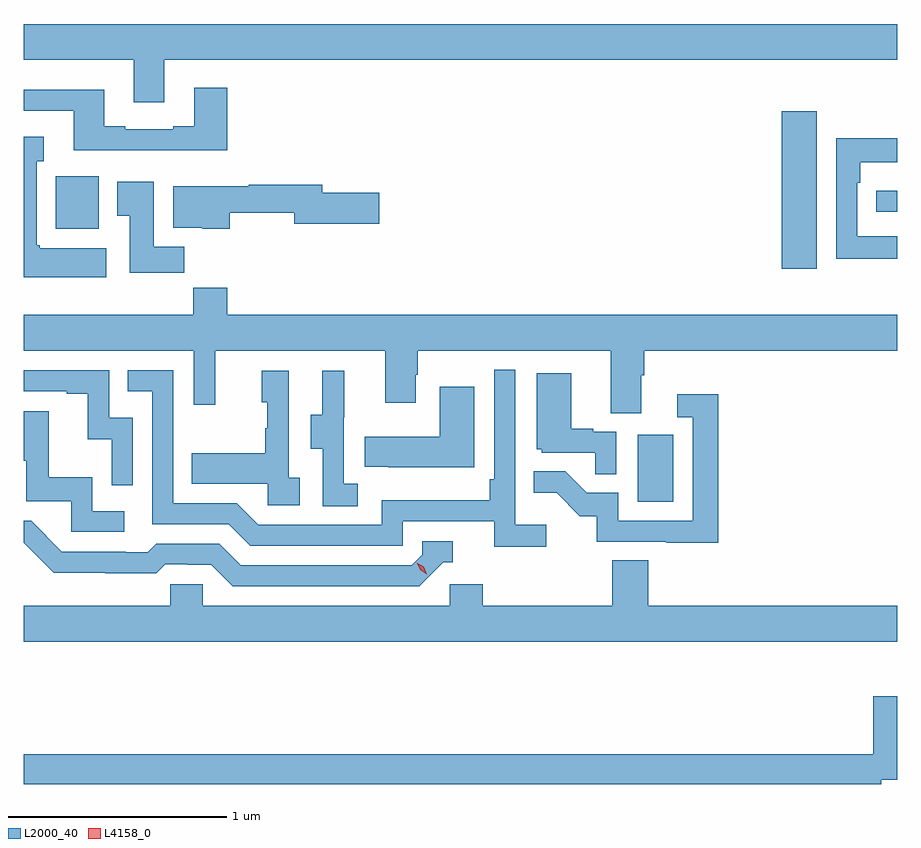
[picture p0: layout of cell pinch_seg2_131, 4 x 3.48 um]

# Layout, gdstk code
import gdstk
lib = gdstk.Library(unit=1e-6, precision=1e-09)
def R(c, l, rs):  # rectangles x0, y0, x1, y1
    for r in rs: c.add(gdstk.rectangle(r[:2], r[2:], *l))
def P(c, l, *ps):  # polygons
    for p in ps: c.add(gdstk.Polygon(p, *l))
L2000_40 = (2000, 40)
L4158_0 = (4158, 0)

pinch_seg2_131 = lib.new_cell('pinch_seg2_131')
R(pinch_seg2_131, L2000_40, [(1020.062,629.628,1020.226,629.935), (1020.722,630.696,1020.883,631.417), (1017.398,630.878,1017.595,631.12), (1021.155,630.957,1021.251,631.053)])
P(pinch_seg2_131, L2000_40, [(1017.895,631.652),(1021.251,631.652),(1021.251,631.816),(1017.251,631.816),(1017.251,631.652),(1017.755,631.652),(1017.755,631.458),(1017.895,631.458)],
  [(1018.184,631.525),(1018.031,631.525),(1018.031,631.348),(1017.935,631.348),(1017.935,631.335),(1017.715,631.335),(1017.715,631.348),(1017.619,631.348),(1017.619,631.516),(1017.251,631.516),(1017.251,631.419),(1017.479,631.419),(1017.479,631.238),(1018.184,631.238)],
  [(1017.628,630.79),(1017.324,630.79),(1017.324,630.804),(1017.31,630.804),(1017.31,631.187),(1017.343,631.187),(1017.343,631.3),(1017.251,631.3),(1017.251,630.656),(1017.628,630.656)],
  [(1021.251,630.843),(1021.068,630.843),(1021.068,631.088),(1021.082,631.088),(1021.082,631.184),(1021.251,631.184),(1021.251,631.294),(1020.972,631.294),(1020.972,630.742),(1021.251,630.742)],
  [(1017.986,630.796),(1017.847,630.796),(1017.847,631.093),(1017.68,631.093),(1017.68,630.937),(1017.737,630.937),(1017.737,630.678),(1017.986,630.678)],
  [(1018.194,630.951),(1018.49,630.951),(1018.49,630.901),(1018.879,630.901),(1018.879,631.043),(1018.618,631.043),(1018.618,631.079),(1018.282,631.079),(1018.282,631.072),(1017.935,631.072),(1017.935,630.884),(1018.068,630.884),(1018.068,630.878),(1018.194,630.878)],
  [(1020.079,630.208),(1020.092,630.208),(1020.092,630.32),(1021.251,630.32),(1021.251,630.484),(1018.184,630.484),(1018.184,630.608),(1018.027,630.608),(1018.027,630.484),(1017.251,630.484),(1017.251,630.32),(1018.029,630.32),(1018.029,630.072),(1018.127,630.072),(1018.127,630.32),(1018.907,630.32),(1018.907,630.081),(1019.047,630.081),(1019.047,630.209),(1019.055,630.209),(1019.055,630.32),(1019.939,630.32),(1019.939,630.034),(1020.079,630.034)],
  [(1019.644,629.524),(1019.502,629.524),(1019.502,630.232),(1019.406,630.232),(1019.406,629.731),(1019.386,629.731),(1019.386,629.635),(1018.89,629.635),(1018.89,629.523),(1018.326,629.523),(1018.227,629.622),(1017.936,629.622),(1017.936,630.231),(1017.727,630.231),(1017.727,630.135),(1017.84,630.135),(1017.84,629.526),(1018.19,629.526),(1018.289,629.427),(1018.986,629.427),(1018.986,629.538),(1019.405,629.538),(1019.405,629.422),(1019.644,629.422)],
  [(1017.75,630.012),(1017.642,630.012),(1017.642,630.231),(1017.251,630.231),(1017.251,630.135),(1017.449,630.135),(1017.449,630.123),(1017.545,630.123),(1017.545,629.915),(1017.654,629.915),(1017.654,629.703),(1017.75,629.703)],
  [(1018.78,629.711),(1018.716,629.711),(1018.716,630.015),(1018.718,630.015),(1018.718,630.229),(1018.619,630.229),(1018.619,630.027),(1018.565,630.027),(1018.565,629.872),(1018.62,629.872),(1018.62,629.608),(1018.78,629.608)],
  [(1018.516,629.738),(1018.464,629.738),(1018.464,630.229),(1018.34,630.229),(1018.34,630.084),(1018.366,630.084),(1018.366,629.966),(1018.356,629.966),(1018.356,629.851),(1018.021,629.851),(1018.021,629.711),(1018.368,629.711),(1018.368,629.613),(1018.516,629.613)],
  [(1019.964,629.949),(1019.858,629.949),(1019.858,629.962),(1019.758,629.962),(1019.758,630.217),(1019.6,630.217),(1019.6,629.868),(1019.622,629.868),(1019.622,629.853),(1019.869,629.853),(1019.869,629.755),(1019.964,629.755)],
  [(1019.314,630.154),(1019.156,630.154),(1019.156,629.926),(1018.813,629.926),(1018.813,629.789),(1018.921,629.789),(1018.921,629.786),(1019.314,629.786)],
  [(1020.431,630.121),(1020.243,630.121),(1020.243,630.015),(1020.315,630.015),(1020.315,629.541),(1019.973,629.541),(1019.973,629.67),(1019.829,629.67),(1019.731,629.768),(1019.587,629.768),(1019.587,629.669),(1019.691,629.669),(1019.798,629.562),(1019.875,629.562),(1019.875,629.445),(1020.193,629.445),(1020.193,629.44),(1020.431,629.44)],
  [(1017.712,629.586),(1017.564,629.586),(1017.564,629.74),(1017.365,629.74),(1017.365,630.043),(1017.251,630.043),(1017.251,629.817),(1017.263,629.817),(1017.263,629.631),(1017.468,629.631),(1017.468,629.49),(1017.712,629.49)],
  [(1019.172,629.352),(1019.215,629.352),(1019.215,629.448),(1019.076,629.448),(1019.076,629.385),(1019.028,629.337),(1018.245,629.337),(1018.146,629.436),(1017.857,629.436),(1017.818,629.397),(1017.719,629.397),(1017.719,629.4),(1017.426,629.4),(1017.285,629.541),(1017.251,629.541),(1017.251,629.44),(1017.388,629.303),(1017.624,629.303),(1017.624,629.301),(1017.857,629.301),(1017.899,629.343),(1018.002,629.343),(1018.002,629.34),(1018.109,629.34),(1018.208,629.241),(1019.061,629.241)],
  [(1021.251,629.152),(1020.11,629.152),(1020.11,629.36),(1019.945,629.36),(1019.945,629.152),(1019.354,629.152),(1019.354,629.25),(1019.202,629.25),(1019.202,629.152),(1018.071,629.152),(1018.071,629.25),(1017.921,629.25),(1017.921,629.152),(1017.251,629.152),(1017.251,628.988),(1021.251,628.988)],
  [(1021.178,628.356),(1021.251,628.356),(1021.251,628.738),(1021.142,628.738),(1021.142,628.472),(1017.251,628.472),(1017.251,628.336),(1021.178,628.336)])
P(pinch_seg2_131, L4158_0, [(1019.097,629.297),(1019.067,629.317),(1019.051,629.35),(1019.051,629.35),(1019.051,629.35),(1019.082,629.33),(1019.097,629.297),(1019.097,629.297)])

lib.write_gds('pinch_seg2_131.gds')
